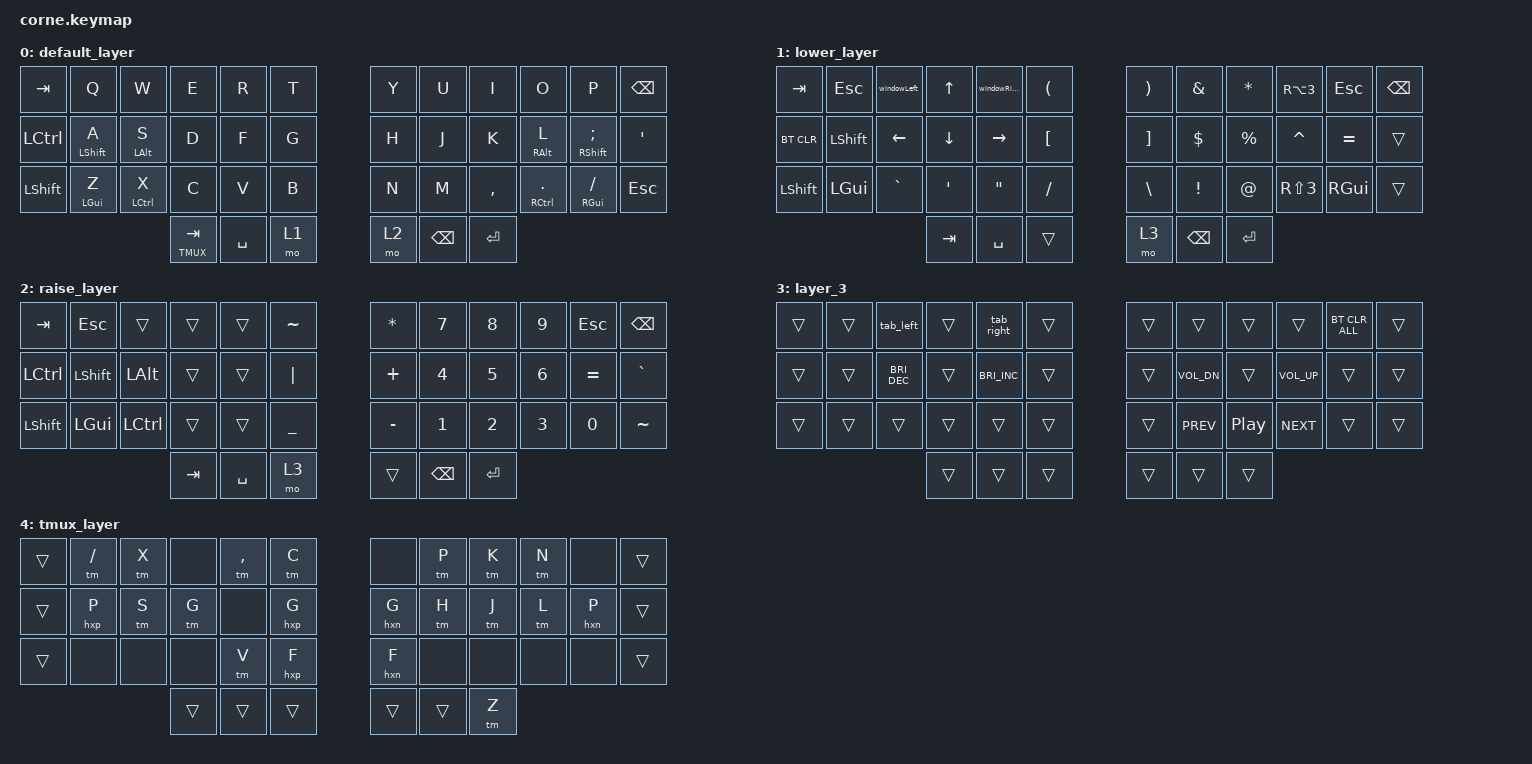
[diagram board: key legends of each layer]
/*
 * Copyright (c) 2020 The ZMK Contributors
 *
 * SPDX-License-Identifier: MIT
 */

#include <behaviors.dtsi>
#include <dt-bindings/zmk/bt.h>
#include <dt-bindings/zmk/keys.h>

&mt {
    flavor = "balanced";
    tapping-term-ms = <200>;
    quick-tap-ms = <175>;
    require-prior-idle-ms = <150>;
    hold-trigger-on-release;
};

// layer-tap used for the tmux layer on the left outer thumb (tap = TAB, hold = tmux)
&lt {
    flavor = "balanced";
    tapping-term-ms = <200>;
    quick-tap-ms = <175>;
};

#define TMUX 4

/ {
    combos {
        compatible = "zmk,combos";

        prevTabCombo {
            bindings = <&prevTab>;
            key-positions = <17 18>;
        };
    };

    macros {
        // tmux: sends the prefix (Ctrl+Space) then the given key, e.g. `&tm C`
        // -> prefix c -> new window. Every key on the TMUX layer uses this.
        tm: tmux_prefix_key {
            compatible = "zmk,behavior-macro-one-param";
            #binding-cells = <1>;
            wait-ms = <20>;
            tap-ms = <20>;
            bindings =
                <&macro_press>,
                <&kp LCTRL>,
                <&macro_tap>,
                <&kp SPACE>,
                <&macro_release>,
                <&kp LCTRL>,
                <&macro_tap>,
                <&macro_param_1to1>,
                <&kp MACRO_PLACEHOLDER>;
        };

        // helix: `[` + key / `]` + key  (prev / next hunk, function, paragraph ...)
        hxp: helix_prev {
            compatible = "zmk,behavior-macro-one-param";
            #binding-cells = <1>;
            wait-ms = <20>;
            tap-ms = <20>;
            bindings =
                <&macro_tap>,
                <&kp LBKT>,
                <&macro_param_1to1>,
                <&kp MACRO_PLACEHOLDER>;
        };

        hxn: helix_next {
            compatible = "zmk,behavior-macro-one-param";
            #binding-cells = <1>;
            wait-ms = <20>;
            tap-ms = <20>;
            bindings =
                <&macro_tap>,
                <&kp RBKT>,
                <&macro_param_1to1>,
                <&kp MACRO_PLACEHOLDER>;
        };

        prevTab: prevTab {
            compatible = "zmk,behavior-macro";
            #binding-cells = <0>;
            bindings =
                <&macro_press>,
                <&kp LGUI>,
                <&macro_tap>,
                <&kp TAB>,
                <&macro_release>,
                <&kp LGUI>;

            label = "PREVTAB";
        };

        windowLeft: windowLeft {
            compatible = "zmk,behavior-macro";
            #binding-cells = <0>;
            bindings =
                <&macro_press>,
                <&kp LEFT_CONTROL &kp LALT>,
                <&macro_tap>,
                <&kp LEFT>,
                <&macro_release>,
                <&kp LEFT_CONTROL &kp LALT>;

            label = "WINDOWLEFT";
        };

        windowRight: windowRight {
            compatible = "zmk,behavior-macro";
            #binding-cells = <0>;
            bindings =
                <&macro_press>,
                <&kp LEFT_CONTROL &kp LALT>,
                <&macro_tap>,
                <&kp RIGHT>,
                <&macro_release>,
                <&kp LEFT_CONTROL &kp LALT>;

            label = "WINDOWRIGHT";
        };

        tab_left: tab_left {
            compatible = "zmk,behavior-macro";
            #binding-cells = <0>;
            bindings =
                <&macro_press>,
                <&kp LCMD>,
                <&macro_tap>,
                <&kp LEFT>,
                <&macro_release>,
                <&kp LCMD>;

            label = "TAB_LEFT";
        };

        tab_right: tab_right {
            compatible = "zmk,behavior-macro";
            #binding-cells = <0>;
            bindings =
                <&macro_press>,
                <&kp LCMD>,
                <&macro_tap>,
                <&kp RIGHT>,
                <&macro_release>,
                <&kp LCMD>;

            label = "TAB_RIGHT";
        };
    };

    keymap {
        compatible = "zmk,keymap";

        default_layer {
            // -----------------------------------------------------------------------------------------
            // |  TAB |  Q  |  W  |  E  |  R  |  T  |   |  Y  |  U   |  I  |  O  |  P  | BKSP |
            // | CTRL |  A  |  S  |  D  |  F  |  G  |   |  H  |  J   |  K  |  L  |  ;  |  '   |
            // | SHFT |  Z  |  X  |  C  |  V  |  B  |   |  N  |  M   |  ,  |  .  |  /  | ESC  |
            //             | TAB/TMUX | SPC | LWR |   | RSE | BKSP | ENT |

            bindings = <
&kp TAB    &kp Q         &kp W        &kp E         &kp R      &kp T    &kp Y  &kp U          &kp I      &kp O          &kp P           &kp BSPC
&kp LCTRL  &mt LSHIFT A  &mt LALT S   &kp D         &kp F      &kp G    &kp H  &kp J          &kp K      &mt RALT L     &mt RSHFT SEMI  &kp SQT
&kp LSHFT  &mt LGUI Z    &mt LCTRL X  &kp C         &kp V      &kp B    &kp N  &kp M          &kp COMMA  &mt RCTRL DOT  &mt RGUI FSLH   &kp ESC
                                      &lt TMUX TAB  &kp SPACE  &mo 1    &mo 2  &kp BACKSPACE  &kp ENTER
            >;
        };

        lower_layer {
            // -----------------------------------------------------------------------------------------
            // |  TAB |  1  |  2  |  3  |  4  |  5  |   |  6  |  7  |  8  |  9  |  0  | BKSP |
            // | BTCLR| BT1 | BT2 | BT3 | BT4 | BT5 |   | LFT | DWN |  UP | RGT |     |      |
            // | SHFT |     |     |     |     |     |   |     |     |     |     |     |      |
            //                    | GUI |     | SPC |   | ENT |     | ALT |

            bindings = <
&kp TAB     &kp ESCAPE      &windowLeft     &kp UP_ARROW      &windowRight       &kp LEFT_PARENTHESIS    &kp RIGHT_PARENTHESIS  &kp AMPS       &kp ASTERISK  &kp RA(N3)  &kp ESCAPE  &kp BSPC
&bt BT_CLR  &kp LEFT_SHIFT  &kp LEFT_ARROW  &kp DOWN          &kp RIGHT          &kp LEFT_BRACKET        &kp RIGHT_BRACKET      &kp DOLLAR     &kp PERCENT   &kp CARET   &kp EQUAL   &trans
&kp LSHFT   &kp LEFT_GUI    &kp GRAVE       &kp SINGLE_QUOTE  &kp DOUBLE_QUOTES  &kp SLASH               &kp BACKSLASH          &kp EXCL       &kp AT        &kp RS(N3)  &kp RGUI    &trans
                                            &kp TAB           &kp SPACE          &trans                  &mo 3                  &kp BACKSPACE  &kp RET
            >;
        };

        raise_layer {
            // -----------------------------------------------------------------------------------------
            // |  TAB |  !  |  @  |  #  |  $  |  %  |   |  ^  |  &  |  *  |  (  |  )  | BKSP |
            // | CTRL |     |     |     |     |     |   |  -  |  =  |  [  |  ]  |  \  |  `   |
            // | SHFT |     |     |     |     |     |   |  _  |  +  |  {  |  }  | "|" |  ~   |
            //                    | GUI |     | SPC |   | ENT |     | ALT |

            bindings = <
&kp TAB    &kp ESCAPE  &trans     &trans   &trans     &kp TILDE    &kp ASTRK  &kp N7         &kp N8   &kp N9  &kp ESCAPE  &kp BSPC
&kp LCTRL  &kp LSHFT   &kp LALT   &trans   &trans     &kp PIPE     &kp PLUS   &kp N4         &kp N5   &kp N6  &kp EQUAL   &kp GRAVE
&kp LSHFT  &kp LGUI    &kp LCTRL  &trans   &trans     &kp UNDER    &kp MINUS  &kp N1         &kp N2   &kp N3  &kp N0      &kp TILDE
                                  &kp TAB  &kp SPACE  &mo 3        &trans     &kp BACKSPACE  &kp RET
            >;
        };

        layer_3 {
            bindings = <
&trans  &trans  &tab_left             &trans  &tab_right            &trans    &trans  &trans        &trans            &trans        &bt BT_CLR_ALL  &trans
&trans  &trans  &kp C_BRIGHTNESS_DEC  &trans  &kp C_BRIGHTNESS_INC  &trans    &trans  &kp C_VOL_DN  &trans            &kp C_VOL_UP  &trans          &trans
&trans  &trans  &trans                &trans  &trans                &trans    &trans  &kp C_PREV    &kp C_PLAY_PAUSE  &kp C_NEXT    &trans          &trans
                                      &trans  &trans                &trans    &trans  &trans        &trans
            >;
        };

        tmux_layer {
            // Hold left outer thumb (TAB). Each key = tmux prefix + letter (see ~/.config/tmux/tmux.conf)
            // -----------------------------------------------------------------------------------------
            // |      |CHEAT|CLOSE|     |RENAM| NEW |   |     |PREV |  ↑  |NEXT |     |      |
            // |      | [p  |SPL= | GIT |     | [g  |   | ]g  |  ←  |  ↓  |  →  | ]p  |      |
            // |      |     |     |     |SPL| | [f  |   | ]f  |     |     |     |     |      |
            //                    |HELD |     |     |   |     |     |ZOOM |
            //   tmux:  CLOSE = kill pane (closes the tab if it's the last pane)   NEW = new window/tab
            //          SPL=  = stacked split   SPL| = side-by-side split   ZOOM (Enter) = toggle pane zoom
            //          CHEAT = shortcut cheatsheet in a new tab   GIT = lazygit popup
            //   helix: [g ]g prev/next git hunk   [f ]f prev/next function   [p ]p prev/next paragraph

            bindings = <
&trans  &tm SLASH  &tm X  &none  &tm COMMA  &tm C    &none   &tm P  &tm K  &tm N  &none   &trans
&trans  &hxp P     &tm S  &tm G  &none      &hxp G   &hxn G  &tm H  &tm J  &tm L  &hxn P  &trans
&trans  &none      &none  &none  &tm V      &hxp F   &hxn F  &none  &none  &none  &none   &trans
                          &trans &trans     &trans   &trans  &trans &tm Z
            >;
        };
    };
};
